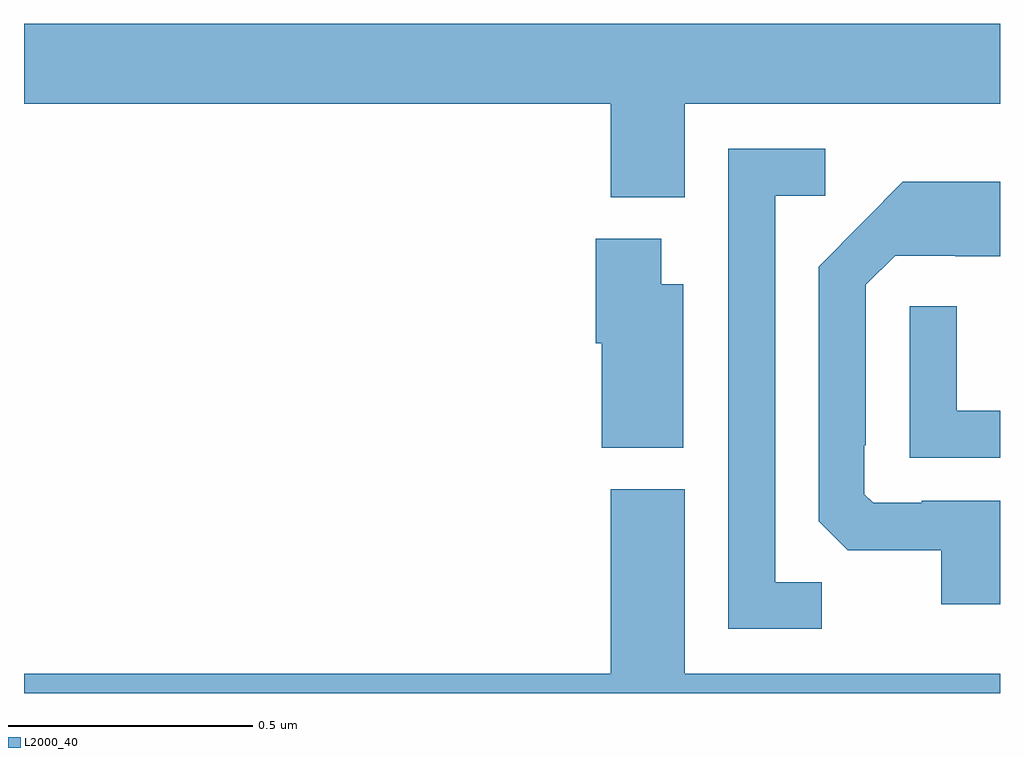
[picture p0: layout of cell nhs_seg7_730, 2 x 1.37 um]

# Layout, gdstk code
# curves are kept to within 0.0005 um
import gdstk
lib = gdstk.Library(unit=1e-6, precision=1e-09)
def P(c, l, *ps):  # polygons
    for p in ps: c.add(gdstk.Polygon(p, *l))
L2000_40 = (2000, 40)

nhs_seg7_730 = lib.new_cell('nhs_seg7_730')
P(nhs_seg7_730, L2000_40, [(121.354,1075.208),(122,1075.208),(122,1075.372),(120,1075.372),(120,1075.208),(121.202,1075.208),(121.202,1075.016),(121.354,1075.016)],
  [(121.635,1074.227),(121.539,1074.227),(121.539,1075.02),(121.642,1075.02),(121.642,1075.116),(121.443,1075.116),(121.443,1074.132),(121.635,1074.132)],
  [(122,1074.394),(121.84,1074.394),(121.84,1074.39),(121.74,1074.39),(121.722,1074.408),(121.722,1074.508),(121.725,1074.508),(121.725,1074.837),(121.785,1074.897),(121.908,1074.897),(121.908,1074.896),(122,1074.896),(122,1075.048),(121.801,1075.048),(121.629,1074.874),(121.629,1074.352),(121.688,1074.293),(121.88,1074.293),(121.88,1074.182),(122,1074.182)],
  [(121.351,1074.838),(121.306,1074.838),(121.306,1074.931),(121.172,1074.931),(121.172,1074.717),(121.184,1074.717),(121.184,1074.503),(121.351,1074.503)],
  [(122,1074.579),(121.911,1074.579),(121.911,1074.793),(121.815,1074.793),(121.815,1074.483),(122,1074.483)],
  [(122,1074.04),(121.354,1074.04),(121.354,1074.418),(121.202,1074.418),(121.202,1074.04),(120,1074.04),(120,1074),(122,1074)])

lib.write_gds('nhs_seg7_730.gds')
